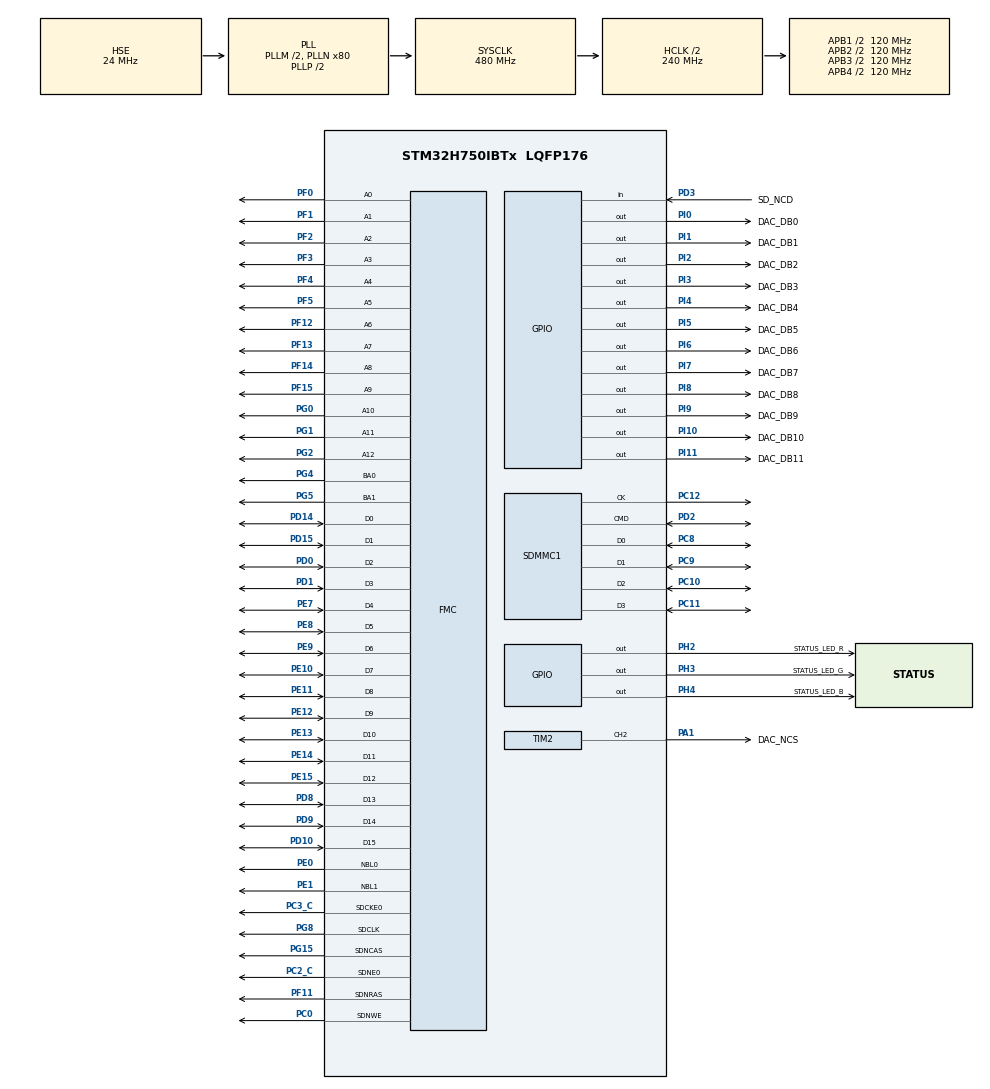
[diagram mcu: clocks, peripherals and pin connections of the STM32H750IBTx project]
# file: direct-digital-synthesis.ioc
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Dma.Request0=TIM2_UP
Dma.TIM2_UP.0.Direction=DMA_MEMORY_TO_PERIPH
Dma.TIM2_UP.0.EventEnable=DISABLE
Dma.TIM2_UP.0.FIFOMode=DMA_FIFOMODE_DISABLE
Dma.TIM2_UP.0.Instance=DMA1_Stream0
Dma.TIM2_UP.0.MemDataAlignment=DMA_MDATAALIGN_WORD
Dma.TIM2_UP.0.MemInc=DMA_MINC_ENABLE
Dma.TIM2_UP.0.Mode=DMA_CIRCULAR
Dma.TIM2_UP.0.PeriphDataAlignment=DMA_PDATAALIGN_WORD
Dma.TIM2_UP.0.PeriphInc=DMA_PINC_DISABLE
Dma.TIM2_UP.0.Polarity=HAL_DMAMUX_REQ_GEN_RISING
Dma.TIM2_UP.0.Priority=DMA_PRIORITY_HIGH
Dma.TIM2_UP.0.RequestNumber=1
Dma.TIM2_UP.0.SignalID=NONE
Dma.TIM2_UP.0.SyncEnable=DISABLE
Dma.TIM2_UP.0.SyncPolarity=HAL_DMAMUX_SYNC_NO_EVENT
Dma.TIM2_UP.0.SyncRequestNumber=1
Dma.TIM2_UP.0.SyncSignalID=NONE
FMC.CASLatency1=FMC_SDRAM_CAS_LATENCY_2
FMC.ColumnBitsNumber1=FMC_SDRAM_COLUMN_BITS_NUM_9
FMC.ExitSelfRefreshDelay1=6
FMC.LoadToActiveDelay1=2
FMC.RCDDelay1=2
FMC.RPDelay1=2
FMC.RPDelay2=2
FMC.ReadBurst1=FMC_SDRAM_RBURST_ENABLE
FMC.ReadBurst2=FMC_SDRAM_RBURST_ENABLE
FMC.ReadPipeDelay1=FMC_SDRAM_RPIPE_DELAY_2
FMC.ReadPipeDelay2=FMC_SDRAM_RPIPE_DELAY_2
FMC.RowCycleDelay1=5
FMC.RowCycleDelay2=5
FMC.SDClockPeriod1=FMC_SDRAM_CLOCK_PERIOD_3
FMC.SDClockPeriod2=FMC_SDRAM_CLOCK_PERIOD_3
FMC.SelfRefreshTime1=3
FMC.WriteRecoveryTime1=2
Mcu.Family=STM32H7
Mcu.Name=STM32H750IBTx
Mcu.Package=LQFP176
NVIC.DMA1_Stream0_IRQn=true\:0\:0\:false\:false\:true\:false\:true\:true
NVIC.PriorityGroup=NVIC_PRIORITYGROUP_4
NVIC.SDMMC1_IRQn=true\:0\:0\:false\:false\:true\:true\:true\:true
PA1.GPIO_Label=DAC_NCS
PA1.GPIO_Speed=GPIO_SPEED_FREQ_LOW
PA1.Signal=S_TIM2_CH2
PA13\ (JTMS/SWDIO).Mode=Trace_Asynchronous_SW
PA13\ (JTMS/SWDIO).Signal=DEBUG_JTMS-SWDIO
PA14\ (JTCK/SWCLK).Mode=Trace_Asynchronous_SW
PA14\ (JTCK/SWCLK).Signal=DEBUG_JTCK-SWCLK
PB3\ (JTDO/TRACESWO).Mode=Trace_Asynchronous_SW
PB3\ (JTDO/TRACESWO).Signal=DEBUG_JTDO-SWO
PC0.Signal=FMC_SDNWE
PC10.GPIO_PuPd=GPIO_PULLUP
PC10.GPIO_Speed_High_Default=GPIO_SPEED_FREQ_LOW
PC10.Mode=SD_4_bits_Wide_bus
PC10.Signal=SDMMC1_D2
PC11.GPIO_PuPd=GPIO_PULLUP
PC11.GPIO_Speed_High_Default=GPIO_SPEED_FREQ_LOW
PC11.Mode=SD_4_bits_Wide_bus
PC11.Signal=SDMMC1_D3
PC12.GPIO_Speed_High_Default=GPIO_SPEED_FREQ_LOW
PC12.Mode=SD_4_bits_Wide_bus
PC12.Signal=SDMMC1_CK
PC2_C.Mode=SdramChipSelect1_1
PC2_C.Signal=FMC_SDNE0
PC3_C.Mode=SdramChipSelect1_1
PC3_C.Signal=FMC_SDCKE0
PC8.GPIO_PuPd=GPIO_PULLUP
PC8.GPIO_Speed_High_Default=GPIO_SPEED_FREQ_LOW
PC8.Mode=SD_4_bits_Wide_bus
PC8.Signal=SDMMC1_D0
PC9.GPIO_PuPd=GPIO_PULLUP
PC9.GPIO_Speed_High_Default=GPIO_SPEED_FREQ_LOW
PC9.Mode=SD_4_bits_Wide_bus
PC9.Signal=SDMMC1_D1
PD0.Signal=FMC_D2_DA2
PD1.Signal=FMC_D3_DA3
PD10.Signal=FMC_D15_DA15
PD14.Signal=FMC_D0_DA0
PD15.Signal=FMC_D1_DA1
PD2.GPIO_PuPd=GPIO_PULLUP
PD2.GPIO_Speed_High_Default=GPIO_SPEED_FREQ_LOW
PD2.Mode=SD_4_bits_Wide_bus
PD2.Signal=SDMMC1_CMD
PD3.GPIO_Label=SD_NCD
PD3.Signal=GPIO_Input
PD8.Signal=FMC_D13_DA13
PD9.Signal=FMC_D14_DA14
PE0.Signal=FMC_NBL0
PE1.Signal=FMC_NBL1
PE10.Signal=FMC_D7_DA7
PE11.Signal=FMC_D8_DA8
PE12.Signal=FMC_D9_DA9
PE13.Signal=FMC_D10_DA10
PE14.Signal=FMC_D11_DA11
PE15.Signal=FMC_D12_DA12
PE7.Signal=FMC_D4_DA4
PE8.Signal=FMC_D5_DA5
PE9.Signal=FMC_D6_DA6
PF0.Signal=FMC_A0
PF1.Signal=FMC_A1
PF11.Signal=FMC_SDNRAS
PF12.Signal=FMC_A6
PF13.Signal=FMC_A7
PF14.Signal=FMC_A8
PF15.Signal=FMC_A9
PF2.Signal=FMC_A2
PF3.Signal=FMC_A3
PF4.Signal=FMC_A4
PF5.Signal=FMC_A5
PG0.Signal=FMC_A10
PG1.Signal=FMC_A11
PG15.Signal=FMC_SDNCAS
PG2.Signal=FMC_A12
PG4.Signal=FMC_A14_BA0
PG5.Signal=FMC_A15_BA1
PG8.Signal=FMC_SDCLK
PH0-OSC_IN\ (PH0).Mode=HSE-External-Clock-Source
PH0-OSC_IN\ (PH0).Signal=RCC_OSC_IN
PH2.GPIO_Label=STATUS_LED_R
PH2.Signal=GPIO_Output
PH3.GPIO_Label=STATUS_LED_G
PH3.Signal=GPIO_Output
PH4.GPIO_Label=STATUS_LED_B
PH4.Signal=GPIO_Output
PI0.GPIO_Label=DAC_DB0
PI0.GPIO_Speed=GPIO_SPEED_FREQ_LOW
PI0.Signal=GPIO_Output
PI1.GPIO_Label=DAC_DB1
PI1.GPIO_Speed=GPIO_SPEED_FREQ_LOW
PI1.Signal=GPIO_Output
PI10.GPIO_Label=DAC_DB10
PI10.GPIO_Speed=GPIO_SPEED_FREQ_LOW
PI10.Signal=GPIO_Output
PI11.GPIO_Label=DAC_DB11
PI11.GPIO_Speed=GPIO_SPEED_FREQ_LOW
PI11.Signal=GPIO_Output
PI2.GPIO_Label=DAC_DB2
PI2.GPIO_Speed=GPIO_SPEED_FREQ_LOW
PI2.Signal=GPIO_Output
PI3.GPIO_Label=DAC_DB3
PI3.GPIO_Speed=GPIO_SPEED_FREQ_LOW
PI3.Signal=GPIO_Output
PI4.GPIO_Label=DAC_DB4
PI4.GPIO_Speed=GPIO_SPEED_FREQ_LOW
PI4.Signal=GPIO_Output
PI5.GPIO_Label=DAC_DB5
PI5.GPIO_Speed=GPIO_SPEED_FREQ_LOW
PI5.Signal=GPIO_Output
PI6.GPIO_Label=DAC_DB6
PI6.GPIO_Speed=GPIO_SPEED_FREQ_LOW
PI6.Signal=GPIO_Output
PI7.GPIO_Label=DAC_DB7
PI7.GPIO_Speed=GPIO_SPEED_FREQ_LOW
PI7.Signal=GPIO_Output
PI8.GPIO_Label=DAC_DB8
PI8.GPIO_Speed=GPIO_SPEED_FREQ_LOW
PI8.Signal=GPIO_Output
PI9.GPIO_Label=DAC_DB9
PI9.GPIO_Speed=GPIO_SPEED_FREQ_LOW
PI9.Signal=GPIO_Output
ProjectManager.HeapSize=0x200
ProjectManager.StackSize=0x400
ProjectManager.TargetToolchain=STM32CubeIDE
RCC.ADCFreq_Value=48375000
RCC.APB1Freq_Value=120000000
RCC.APB2Freq_Value=120000000
RCC.APB3Freq_Value=120000000
RCC.APB4Freq_Value=120000000
RCC.CortexFreq_Value=480000000
RCC.D1PPRE=RCC_APB3_DIV2
RCC.D2PPRE1=RCC_APB1_DIV2
RCC.D2PPRE2=RCC_APB2_DIV2
RCC.D3PPRE=RCC_APB4_DIV2
RCC.DIVM1=2
RCC.DIVN1=80
RCC.DIVQ1=4
RCC.HCLKFreq_Value=240000000
RCC.HPRE=RCC_HCLK_DIV2
RCC.HSE_VALUE=24000000
RCC.PLL2FRACN=0
RCC.PLL3FRACN=0
RCC.PLLFRACN=0
RCC.PLLSourceVirtual=RCC_PLLSOURCE_HSE
RCC.SYSCLKFreq_VALUE=480000000
RCC.SYSCLKSource=RCC_SYSCLKSOURCE_PLLCLK
RCC.USBFreq_Value=240000000
SDMMC1.ClockDiv=3
SH.FMC_A0.0=FMC_A0,13b-sda1
SH.FMC_A1.0=FMC_A1,13b-sda1
SH.FMC_A10.0=FMC_A10,13b-sda1
SH.FMC_A11.0=FMC_A11,13b-sda1
SH.FMC_A12.0=FMC_A12,13b-sda1
SH.FMC_A14_BA0.0=FMC_BA0,FourSdramBanks1
SH.FMC_A15_BA1.0=FMC_BA1,FourSdramBanks1
SH.FMC_A2.0=FMC_A2,13b-sda1
SH.FMC_A3.0=FMC_A3,13b-sda1
SH.FMC_A4.0=FMC_A4,13b-sda1
SH.FMC_A5.0=FMC_A5,13b-sda1
SH.FMC_A6.0=FMC_A6,13b-sda1
SH.FMC_A7.0=FMC_A7,13b-sda1
SH.FMC_A8.0=FMC_A8,13b-sda1
SH.FMC_A9.0=FMC_A9,13b-sda1
SH.FMC_D0_DA0.0=FMC_D0,sd-16b-d1
SH.FMC_D10_DA10.0=FMC_D10,sd-16b-d1
SH.FMC_D11_DA11.0=FMC_D11,sd-16b-d1
SH.FMC_D12_DA12.0=FMC_D12,sd-16b-d1
SH.FMC_D13_DA13.0=FMC_D13,sd-16b-d1
SH.FMC_D14_DA14.0=FMC_D14,sd-16b-d1
SH.FMC_D15_DA15.0=FMC_D15,sd-16b-d1
SH.FMC_D1_DA1.0=FMC_D1,sd-16b-d1
SH.FMC_D2_DA2.0=FMC_D2,sd-16b-d1
SH.FMC_D3_DA3.0=FMC_D3,sd-16b-d1
SH.FMC_D4_DA4.0=FMC_D4,sd-16b-d1
SH.FMC_D5_DA5.0=FMC_D5,sd-16b-d1
SH.FMC_D6_DA6.0=FMC_D6,sd-16b-d1
SH.FMC_D7_DA7.0=FMC_D7,sd-16b-d1
SH.FMC_D8_DA8.0=FMC_D8,sd-16b-d1
SH.FMC_D9_DA9.0=FMC_D9,sd-16b-d1
SH.FMC_NBL0.0=FMC_NBL0,Sd2ByteEnable1
SH.FMC_NBL1.0=FMC_NBL1,Sd2ByteEnable1
SH.FMC_SDCLK.0=FMC_SDCLK,13b-sda1
SH.FMC_SDNCAS.0=FMC_SDNCAS,13b-sda1
SH.FMC_SDNRAS.0=FMC_SDNRAS,13b-sda1
SH.FMC_SDNWE.0=FMC_SDNWE,13b-sda1
SH.S_TIM2_CH2.0=TIM2_CH2,PWM Generation2 CH2
TIM2.AutoReloadPreload=TIM_AUTORELOAD_PRELOAD_ENABLE
TIM2.Channel-PWM\ Generation2\ CH2=TIM_CHANNEL_2
TIM2.OCMode_PWM-PWM\ Generation2\ CH2=TIM_OCMODE_PWM2
TIM2.Period=24-1
TIM2.Prescaler=1-1
TIM2.TIM_MasterOutputTrigger=TIM_TRGO_UPDATE
VP_MEMORYMAP_VS_MEMORYMAP.Mode=CurAppReg
VP_TIM2_VS_ClockSourceINT.Mode=Internal
board=custom

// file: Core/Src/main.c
/* USER CODE BEGIN Header */
/**
  ******************************************************************************
  * @file           : main.c
  * @brief          : Main program body
  ******************************************************************************
  * @attention
  *
  * Copyright (c) 2024 STMicroelectronics.
  * All rights reserved.
  *
  * This software is licensed under terms that can be found in the LICENSE file
  * in the root directory of this software component.
  * If no LICENSE file comes with this software, it is provided AS-IS.
  *
  ******************************************************************************
  */
/* USER CODE END Header */
#include "main.h"

/* USER CODE BEGIN Includes */
#include "DDS.h"
/* USER CODE END Includes */

/* USER CODE BEGIN PD */
#define DAC_DATA_BUFFER_SIZE 16

#define SDRAM_START_ADDRESS 0xC0000000 // Look at Pg 802 of Reference Manual for memory mapping
#define SDRAM_SIZE 0x2000000 // Number of bytes in the SDRAM
/* USER CODE END PD */

SD_HandleTypeDef hsd1;

TIM_HandleTypeDef htim2;
DMA_HandleTypeDef hdma_tim2_up;

SDRAM_HandleTypeDef hsdram1;

void SystemClock_Config(void);
static void MX_GPIO_Init(void);
static void MX_DMA_Init(void);
static void MX_FMC_Init(void);
static void MX_SDMMC1_SD_Init(void);
static void MX_TIM2_Init(void);

/* USER CODE BEGIN 0 */
void Update_StatusLED(const HAL_StatusTypeDef *status)
{
	// Turn on Status LED indicating that something went wrong
	if (status != HAL_OK)
	{
		HAL_GPIO_WritePin(STATUS_LED_R_GPIO_Port, STATUS_LED_R_Pin, GPIO_PIN_RESET);
	}
	else
	{
		HAL_GPIO_WritePin(STATUS_LED_G_GPIO_Port, STATUS_LED_G_Pin, GPIO_PIN_RESET);
	}
}

HAL_StatusTypeDef SDRAM_Init()
{
	/* Initializes the SDRAM to access read and write operations */

	FMC_SDRAM_CommandTypeDef Command;
	HAL_StatusTypeDef status;

    /* Step 1 and Step 2 already done in HAL_SDRAM_Init() */

    /* Step 3: Configure a clock configuration enable command */
    Command.CommandMode            = FMC_SDRAM_CMD_CLK_ENABLE; /* Set MODE bits to "001" */
    Command.CommandTarget          = FMC_SDRAM_CMD_TARGET_BANK1; /* configure the Target Bank bits */
    Command.AutoRefreshNumber      = 1;
    Command.ModeRegisterDefinition = 0;
    status = HAL_SDRAM_SendCommand(&hsdram1, &Command, 0xfff);
    if (status != HAL_OK) { return status; }

    /* Step 4: Insert 100 us minimum delay - Min HAL Delay is 1ms */
    HAL_Delay(1);

    /* Step 5: Configure a PALL (precharge all) command */
    Command.CommandMode            = FMC_SDRAM_CMD_PALL; /* Set MODE bits to "010" */
    status = HAL_SDRAM_SendCommand(&hsdram1, &Command, 0xfff);
    if (status != HAL_OK) { return status; }

    /* Step 6: Configure an Auto Refresh command */
    Command.CommandMode            = FMC_SDRAM_CMD_AUTOREFRESH_MODE; /* Set MODE bits to "011" */
    Command.AutoRefreshNumber      = 2;
    status = HAL_SDRAM_SendCommand(&hsdram1, &Command, 0xfff);
    if (status != HAL_OK) { return status; }

    /* Step 7: Program the external memory mode register */
    Command.CommandMode            = FMC_SDRAM_CMD_LOAD_MODE;/*set the MODE bits to "100" */
    Command.ModeRegisterDefinition =  (uint32_t)0 | 0<<3 | 2<<4 | 0<<7 | 1<<9;
    status = HAL_SDRAM_SendCommand(&hsdram1, &Command, 0xfff);
    if (status != HAL_OK) { return status; }

    /* Step 8: Set the refresh rate counter - refer to section SDRAM refresh timer register in RM0455 */
    /* Set the device refresh rate
	 * COUNT = [(SDRAM self refresh time / number of row) x  SDRAM CLK] – 20
	   		 = [(64ms/8192) * 80MHz] - 20 = 625 - 20 = 605 */
    status = HAL_SDRAM_ProgramRefreshRate(&hsdram1, 605);

    return status;
}

HAL_StatusTypeDef SDRAM_Read(SDRAM_HandleTypeDef *sdram)
{
	/* Performs a read operation on target SDRAM */
	HAL_StatusTypeDef status;

	return status;
}

HAL_StatusTypeDef SDRAM_Write(SDRAM_HandleTypeDef *sdram)
{
	/* Performs a write operation on target SDRAM */
	HAL_StatusTypeDef status;

	return status;
}

HAL_StatusTypeDef DAC_Init()
{
	/* Starts up the DAC clock and data signals */
	HAL_StatusTypeDef status;

	uint32_t dac_data_buffer[DAC_DATA_BUFFER_SIZE] = {0xFFFF0000, 0x00000001}; // Should toggle the first GPIOI pin on and off if DMA is in circular mode

	/* Prepare the DAC data signal to be sent on clock signal timer event via DMA transfers */
	status = HAL_DMA_Start(&hdma_tim2_up, (uint32_t) dac_data_buffer, (uint32_t) &(GPIOI->BSRR), DAC_DATA_BUFFER_SIZE);
	if (status != HAL_OK) { return status; }

	/* Start up the DAC clock signal */
	status = HAL_TIM_PWM_Start(&htim2, TIM_CHANNEL_2);
	if (status != HAL_OK) { return status; }
	__HAL_TIM_SET_COMPARE(&htim2, TIM_CHANNEL_2, 13); // Set duty cycle of PWM generation to 50%
    TIM2->DIER |= TIM_DIER_UDE; // Enable DMA on timer update event (counter overflow)

	return status;
}

/* USER CODE END 0 */

int main(void)
{

  /* MCU Configuration--------------------------------------------------------*/

  /* Reset of all peripherals, Initializes the Flash interface and the Systick. */
  HAL_Init();

  /* Configure the system clock */
  SystemClock_Config();

  /* Initialize all configured peripherals */
  MX_GPIO_Init();
  MX_DMA_Init();
  MX_FMC_Init();
  MX_SDMMC1_SD_Init();
  MX_TIM2_Init();
  /* USER CODE BEGIN 2 */

  if (SDRAM_Init() != HAL_OK) { Update_StatusLED(); } // Prepare the SDRAM for read/write operations

  if (DAC_Init() != HAL_OK) { Update_StatusLED(); } // Prepare the DAC clock and data signals

  /* USER CODE END 2 */

  /* Infinite loop */
  while (1)
  {

  }
}

void SystemClock_Config(void)
{
  RCC_OscInitTypeDef RCC_OscInitStruct = {0};
  RCC_ClkInitTypeDef RCC_ClkInitStruct = {0};

  /** Supply configuration update enable
  */
  HAL_PWREx_ConfigSupply(PWR_LDO_SUPPLY);

  /** Configure the main internal regulator output voltage
  */
  __HAL_PWR_VOLTAGESCALING_CONFIG(PWR_REGULATOR_VOLTAGE_SCALE1);

  while(!__HAL_PWR_GET_FLAG(PWR_FLAG_VOSRDY)) {}

  __HAL_RCC_SYSCFG_CLK_ENABLE();
  __HAL_PWR_VOLTAGESCALING_CONFIG(PWR_REGULATOR_VOLTAGE_SCALE0);

  while(!__HAL_PWR_GET_FLAG(PWR_FLAG_VOSRDY)) {}

  /** Initializes the RCC Oscillators according to the specified parameters
  * in the RCC_OscInitTypeDef structure.
  */
  RCC_OscInitStruct.OscillatorType = RCC_OSCILLATORTYPE_HSE;
  RCC_OscInitStruct.HSEState = RCC_HSE_BYPASS;
  RCC_OscInitStruct.PLL.PLLState = RCC_PLL_ON;
  RCC_OscInitStruct.PLL.PLLSource = RCC_PLLSOURCE_HSE;
  RCC_OscInitStruct.PLL.PLLM = 2;
  RCC_OscInitStruct.PLL.PLLN = 80;
  RCC_OscInitStruct.PLL.PLLP = 2;
  RCC_OscInitStruct.PLL.PLLQ = 4;
  RCC_OscInitStruct.PLL.PLLR = 2;
  RCC_OscInitStruct.PLL.PLLRGE = RCC_PLL1VCIRANGE_3;
  RCC_OscInitStruct.PLL.PLLVCOSEL = RCC_PLL1VCOWIDE;
  RCC_OscInitStruct.PLL.PLLFRACN = 0;
  if (HAL_RCC_OscConfig(&RCC_OscInitStruct) != HAL_OK)
  {
    Error_Handler();
  }

  /** Initializes the CPU, AHB and APB buses clocks
  */
  RCC_ClkInitStruct.ClockType = RCC_CLOCKTYPE_HCLK|RCC_CLOCKTYPE_SYSCLK
                              |RCC_CLOCKTYPE_PCLK1|RCC_CLOCKTYPE_PCLK2
                              |RCC_CLOCKTYPE_D3PCLK1|RCC_CLOCKTYPE_D1PCLK1;
  RCC_ClkInitStruct.SYSCLKSource = RCC_SYSCLKSOURCE_PLLCLK;
  RCC_ClkInitStruct.SYSCLKDivider = RCC_SYSCLK_DIV1;
  RCC_ClkInitStruct.AHBCLKDivider = RCC_HCLK_DIV2;
  RCC_ClkInitStruct.APB3CLKDivider = RCC_APB3_DIV2;
  RCC_ClkInitStruct.APB1CLKDivider = RCC_APB1_DIV2;
  RCC_ClkInitStruct.APB2CLKDivider = RCC_APB2_DIV2;
  RCC_ClkInitStruct.APB4CLKDivider = RCC_APB4_DIV2;

  if (HAL_RCC_ClockConfig(&RCC_ClkInitStruct, FLASH_LATENCY_4) != HAL_OK)
  {
    Error_Handler();
  }
}

static void MX_SDMMC1_SD_Init(void)
{

  hsd1.Instance = SDMMC1;
  hsd1.Init.ClockEdge = SDMMC_CLOCK_EDGE_RISING;
  hsd1.Init.ClockPowerSave = SDMMC_CLOCK_POWER_SAVE_DISABLE;
  hsd1.Init.BusWide = SDMMC_BUS_WIDE_4B;
  hsd1.Init.HardwareFlowControl = SDMMC_HARDWARE_FLOW_CONTROL_DISABLE;
  hsd1.Init.ClockDiv = 3;
  if (HAL_SD_Init(&hsd1) != HAL_OK)
  {
    Error_Handler();
  }

}

static void MX_TIM2_Init(void)
{

  TIM_ClockConfigTypeDef sClockSourceConfig = {0};
  TIM_MasterConfigTypeDef sMasterConfig = {0};
  TIM_OC_InitTypeDef sConfigOC = {0};

  htim2.Instance = TIM2;
  htim2.Init.Prescaler = 1-1;
  htim2.Init.CounterMode = TIM_COUNTERMODE_UP;
  htim2.Init.Period = 24-1;
  htim2.Init.ClockDivision = TIM_CLOCKDIVISION_DIV1;
  htim2.Init.AutoReloadPreload = TIM_AUTORELOAD_PRELOAD_ENABLE;
  if (HAL_TIM_Base_Init(&htim2) != HAL_OK)
  {
    Error_Handler();
  }
  sClockSourceConfig.ClockSource = TIM_CLOCKSOURCE_INTERNAL;
  if (HAL_TIM_ConfigClockSource(&htim2, &sClockSourceConfig) != HAL_OK)
  {
    Error_Handler();
  }
  if (HAL_TIM_PWM_Init(&htim2) != HAL_OK)
  {
    Error_Handler();
  }
  sMasterConfig.MasterOutputTrigger = TIM_TRGO_UPDATE;
  sMasterConfig.MasterSlaveMode = TIM_MASTERSLAVEMODE_DISABLE;
  if (HAL_TIMEx_MasterConfigSynchronization(&htim2, &sMasterConfig) != HAL_OK)
  {
    Error_Handler();
  }
  sConfigOC.OCMode = TIM_OCMODE_PWM2;
  sConfigOC.Pulse = 0;
  sConfigOC.OCPolarity = TIM_OCPOLARITY_HIGH;
  sConfigOC.OCFastMode = TIM_OCFAST_DISABLE;
  if (HAL_TIM_PWM_ConfigChannel(&htim2, &sConfigOC, TIM_CHANNEL_2) != HAL_OK)
  {
    Error_Handler();
  }
  HAL_TIM_MspPostInit(&htim2);

}

static void MX_DMA_Init(void)
{

  /* DMA controller clock enable */
  __HAL_RCC_DMA1_CLK_ENABLE();

  /* DMA interrupt init */
  /* DMA1_Stream0_IRQn interrupt configuration */
  HAL_NVIC_SetPriority(DMA1_Stream0_IRQn, 0, 0);
  HAL_NVIC_EnableIRQ(DMA1_Stream0_IRQn);

}

/* FMC initialization function */
static void MX_FMC_Init(void)
{

  FMC_SDRAM_TimingTypeDef SdramTiming = {0};

  /** Perform the SDRAM1 memory initialization sequence
  */
  hsdram1.Instance = FMC_SDRAM_DEVICE;
  /* hsdram1.Init */
  hsdram1.Init.SDBank = FMC_SDRAM_BANK1;
  hsdram1.Init.ColumnBitsNumber = FMC_SDRAM_COLUMN_BITS_NUM_9;
  hsdram1.Init.RowBitsNumber = FMC_SDRAM_ROW_BITS_NUM_13;
  hsdram1.Init.MemoryDataWidth = FMC_SDRAM_MEM_BUS_WIDTH_16;
  hsdram1.Init.InternalBankNumber = FMC_SDRAM_INTERN_BANKS_NUM_4;
  hsdram1.Init.CASLatency = FMC_SDRAM_CAS_LATENCY_2;
  hsdram1.Init.WriteProtection = FMC_SDRAM_WRITE_PROTECTION_DISABLE;
  hsdram1.Init.SDClockPeriod = FMC_SDRAM_CLOCK_PERIOD_3;
  hsdram1.Init.ReadBurst = FMC_SDRAM_RBURST_ENABLE;
  hsdram1.Init.ReadPipeDelay = FMC_SDRAM_RPIPE_DELAY_2;
  /* SdramTiming */
  SdramTiming.LoadToActiveDelay = 2;
  SdramTiming.ExitSelfRefreshDelay = 6;
  SdramTiming.SelfRefreshTime = 3;
  SdramTiming.RowCycleDelay = 5;
  SdramTiming.WriteRecoveryTime = 2;
  SdramTiming.RPDelay = 2;
  SdramTiming.RCDDelay = 2;

  if (HAL_SDRAM_Init(&hsdram1, &SdramTiming) != HAL_OK)
  {
    Error_Handler( );
  }

}

static void MX_GPIO_Init(void)
{
  GPIO_InitTypeDef GPIO_InitStruct = {0};

  /* GPIO Ports Clock Enable */
  __HAL_RCC_GPIOI_CLK_ENABLE();
  __HAL_RCC_GPIOF_CLK_ENABLE();
  __HAL_RCC_GPIOH_CLK_ENABLE();
  __HAL_RCC_GPIOC_CLK_ENABLE();
  __HAL_RCC_GPIOA_CLK_ENABLE();
  __HAL_RCC_GPIOG_CLK_ENABLE();
  __HAL_RCC_GPIOE_CLK_ENABLE();
  __HAL_RCC_GPIOD_CLK_ENABLE();
  __HAL_RCC_GPIOB_CLK_ENABLE();

  /*Configure GPIO pin Output Level */
  HAL_GPIO_WritePin(GPIOI, DAC_DB8_Pin|DAC_DB9_Pin|DAC_DB10_Pin|DAC_DB11_Pin
                          |DAC_DB0_Pin|DAC_DB1_Pin|DAC_DB2_Pin|DAC_DB3_Pin
                          |DAC_DB4_Pin|DAC_DB5_Pin|DAC_DB6_Pin|DAC_DB7_Pin, GPIO_PIN_RESET);

  /*Configure GPIO pin Output Level */
  HAL_GPIO_WritePin(GPIOH, STATUS_LED_R_Pin|STATUS_LED_G_Pin|STATUS_LED_B_Pin, GPIO_PIN_RESET);

  /*Configure GPIO pins : DAC_DB8_Pin DAC_DB9_Pin DAC_DB10_Pin DAC_DB11_Pin
                           DAC_DB0_Pin DAC_DB1_Pin DAC_DB2_Pin DAC_DB3_Pin
                           DAC_DB4_Pin DAC_DB5_Pin DAC_DB6_Pin DAC_DB7_Pin */
  GPIO_InitStruct.Pin = DAC_DB8_Pin|DAC_DB9_Pin|DAC_DB10_Pin|DAC_DB11_Pin
                          |DAC_DB0_Pin|DAC_DB1_Pin|DAC_DB2_Pin|DAC_DB3_Pin
                          |DAC_DB4_Pin|DAC_DB5_Pin|DAC_DB6_Pin|DAC_DB7_Pin;
  GPIO_InitStruct.Mode = GPIO_MODE_OUTPUT_PP;
  GPIO_InitStruct.Pull = GPIO_NOPULL;
  GPIO_InitStruct.Speed = GPIO_SPEED_FREQ_LOW;
  HAL_GPIO_Init(GPIOI, &GPIO_InitStruct);

  /*Configure GPIO pins : STATUS_LED_R_Pin STATUS_LED_G_Pin STATUS_LED_B_Pin */
  GPIO_InitStruct.Pin = STATUS_LED_R_Pin|STATUS_LED_G_Pin|STATUS_LED_B_Pin;
  GPIO_InitStruct.Mode = GPIO_MODE_OUTPUT_PP;
  GPIO_InitStruct.Pull = GPIO_NOPULL;
  GPIO_InitStruct.Speed = GPIO_SPEED_FREQ_LOW;
  HAL_GPIO_Init(GPIOH, &GPIO_InitStruct);

  /*Configure GPIO pin : SD_NCD_Pin */
  GPIO_InitStruct.Pin = SD_NCD_Pin;
  GPIO_InitStruct.Mode = GPIO_MODE_INPUT;
  GPIO_InitStruct.Pull = GPIO_NOPULL;
  HAL_GPIO_Init(SD_NCD_GPIO_Port, &GPIO_InitStruct);

}

void Error_Handler(void)
{
  __disable_irq();
  while (1)
  {
  }
}
